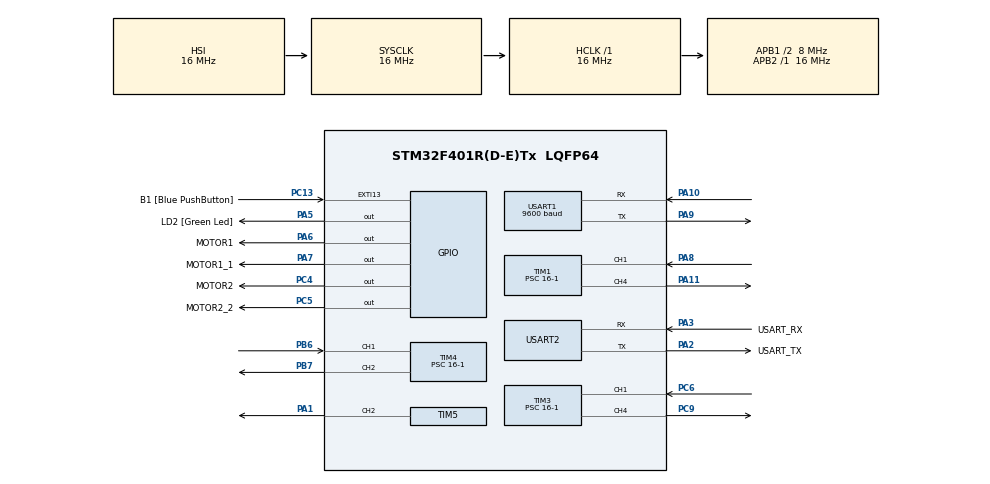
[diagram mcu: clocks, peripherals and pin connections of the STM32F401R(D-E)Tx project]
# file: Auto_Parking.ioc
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FREERTOS.Tasks01=defaultTask,0,128,StartDefaultTask,Default,NULL,Dynamic,NULL,NULL;myTask02,0,128,StartTask02,Default,NULL,Dynamic,NULL,NULL;myTask03,-3,128,Bluetooth,Default,NULL,Dynamic,NULL,NULL;myTask04,-3,128,Utrasonic,Default,NULL,Dynamic,NULL,NULL;START_SEARCHING,-3,128,start_searching,Default,NULL,Dynamic,NULL,NULL;SEARCH_FOR_SLOT,-3,128,search_for_slot,Default,NULL,Dynamic,NULL,NULL;MOVE_TILL_NEXT_,-3,128,move_till_next_car,Default,NULL,Dynamic,NULL,NULL;START_PARKING,-3,128,start_parking,Default,NULL,Dynamic,NULL,NULL;PARK,-3,128,park,Default,NULL,Dynamic,NULL,NULL
FREERTOS.configUSE_NEWLIB_REENTRANT=1
Mcu.Family=STM32F4
Mcu.Name=STM32F401R(D-E)Tx
Mcu.Package=LQFP64
NVIC.PriorityGroup=NVIC_PRIORITYGROUP_4
NVIC.TIM1_CC_IRQn=true\:5\:0\:false\:false\:true\:true\:true\:true\:true
NVIC.TIM2_IRQn=true\:15\:0\:false\:false\:true\:false\:false\:true\:true
NVIC.TIM3_IRQn=true\:5\:0\:false\:false\:true\:true\:true\:true\:true
NVIC.TIM4_IRQn=true\:5\:0\:false\:false\:true\:true\:true\:true\:true
NVIC.TimeBase=TIM2_IRQn
NVIC.TimeBaseIP=TIM2
PA1.Signal=S_TIM5_CH2
PA10.Mode=Asynchronous
PA10.Signal=USART1_RX
PA11.Signal=S_TIM1_CH4
PA13.GPIO_Label=TMS
PA13.Mode=Serial_Wire
PA13.Signal=SYS_JTMS-SWDIO
PA14.GPIO_Label=TCK
PA14.Mode=Serial_Wire
PA14.Signal=SYS_JTCK-SWCLK
PA2.GPIO_Label=USART_TX
PA2.GPIO_Mode=GPIO_MODE_AF_PP
PA2.GPIO_PuPd=GPIO_NOPULL
PA2.GPIO_Speed=GPIO_SPEED_FREQ_LOW
PA2.Mode=Asynchronous
PA2.Signal=USART2_TX
PA3.GPIO_Label=USART_RX
PA3.GPIO_Mode=GPIO_MODE_AF_PP
PA3.GPIO_PuPd=GPIO_NOPULL
PA3.GPIO_Speed=GPIO_SPEED_FREQ_LOW
PA3.Mode=Asynchronous
PA3.Signal=USART2_RX
PA5.GPIO_Label=LD2 [Green Led]
PA5.GPIO_PuPd=GPIO_NOPULL
PA5.GPIO_Speed=GPIO_SPEED_FREQ_LOW
PA5.Signal=GPIO_Output
PA6.GPIO_Label=MOTOR1
PA6.Signal=GPIO_Output
PA7.GPIO_Label=MOTOR1_1
PA7.Signal=GPIO_Output
PA8.Signal=S_TIM1_CH1
PA9.Mode=Asynchronous
PA9.Signal=USART1_TX
PB3.GPIO_Label=SWO
PB3.Signal=SYS_JTDO-SWO
PB6.Signal=S_TIM4_CH1
PB7.Signal=S_TIM4_CH2
PC13-ANTI_TAMP.GPIO_Label=B1 [Blue PushButton]
PC13-ANTI_TAMP.GPIO_ModeDefaultEXTI=GPIO_MODE_IT_FALLING
PC13-ANTI_TAMP.GPIO_PuPd=GPIO_NOPULL
PC13-ANTI_TAMP.Signal=GPXTI13
PC14-OSC32_IN.Mode=LSE-External-Oscillator
PC14-OSC32_IN.Signal=RCC_OSC32_IN
PC15-OSC32_OUT.Mode=LSE-External-Oscillator
PC15-OSC32_OUT.Signal=RCC_OSC32_OUT
PC4.GPIO_Label=MOTOR2
PC4.Signal=GPIO_Output
PC5.GPIO_Label=MOTOR2_2
PC5.Signal=GPIO_Output
PC6.Signal=S_TIM3_CH1
PC9.Signal=S_TIM3_CH4
PH0\ -\ OSC_IN.Mode=HSE-External-Clock-Source
PH0\ -\ OSC_IN.Signal=RCC_OSC_IN
PH1\ -\ OSC_OUT.Mode=HSE-External-Clock-Source
PH1\ -\ OSC_OUT.Signal=RCC_OSC_OUT
ProjectManager.HeapSize=0x200
ProjectManager.StackSize=0x400
ProjectManager.TargetToolchain=STM32CubeIDE
RCC.48MHZClocksFreq_Value=48000000
RCC.AHBFreq_Value=16000000
RCC.APB1CLKDivider=RCC_HCLK_DIV2
RCC.APB1Freq_Value=8000000
RCC.APB1TimFreq_Value=16000000
RCC.APB2Freq_Value=16000000
RCC.APB2TimFreq_Value=16000000
RCC.CortexFreq_Value=16000000
RCC.HCLKFreq_Value=16000000
RCC.HSE_VALUE=8000000
RCC.HSI_VALUE=16000000
RCC.PLLN=336
RCC.PLLP=RCC_PLLP_DIV4
RCC.PLLQ=7
RCC.SYSCLKFreq_VALUE=16000000
RCC.VCOOutputFreq_Value=336000000
SH.S_TIM1_CH1.0=TIM1_CH1,Input_Capture1_from_TI1
SH.S_TIM1_CH4.0=TIM1_CH4,PWM Generation4 CH4
SH.S_TIM3_CH1.0=TIM3_CH1,Input_Capture1_from_TI1
SH.S_TIM3_CH4.0=TIM3_CH4,PWM Generation4 CH4
SH.S_TIM4_CH1.0=TIM4_CH1,Input_Capture1_from_TI1
SH.S_TIM4_CH2.0=TIM4_CH2,PWM Generation2 CH2
SH.S_TIM5_CH2.0=TIM5_CH2,PWM Generation2 CH2
TIM1.Channel-Input_Capture1_from_TI1=TIM_CHANNEL_1
TIM1.Channel-PWM\ Generation4\ CH4=TIM_CHANNEL_4
TIM1.Period=65535
TIM1.Prescaler=16-1
TIM1.Pulse-PWM\ Generation4\ CH4=10
TIM3.Channel-Input_Capture1_from_TI1=TIM_CHANNEL_1
TIM3.Channel-PWM\ Generation4\ CH4=TIM_CHANNEL_4
TIM3.Period=65535
TIM3.Prescaler=16-1
TIM3.Pulse-PWM\ Generation4\ CH4=10
TIM4.Channel-Input_Capture1_from_TI1=TIM_CHANNEL_1
TIM4.Channel-PWM\ Generation2\ CH2=TIM_CHANNEL_2
TIM4.Prescaler=16-1
TIM4.Pulse-PWM\ Generation2\ CH2=10
TIM5.Channel-PWM\ Generation2\ CH2=TIM_CHANNEL_2
TIM5.Period=65535
TIM5.Pulse-PWM\ Generation2\ CH2=10000
USART1.BaudRate=9600
USART1.VirtualMode=VM_ASYNC
USART2.VirtualMode=VM_ASYNC
VP_FREERTOS_VS_CMSIS_V1.Mode=CMSIS_V1
VP_SYS_VS_tim2.Mode=TIM2
VP_TIM3_VS_ClockSourceINT.Mode=Internal
VP_TIM4_VS_ClockSourceINT.Mode=Internal
VP_TIM5_VS_ClockSourceINT.Mode=Internal
board=NUCLEO-F401RE

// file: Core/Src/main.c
/* USER CODE BEGIN Header */
/**
 ******************************************************************************
 * @file           : main.c
 * @brief          : Main program body
 ******************************************************************************
 * @attention
 *
 * Copyright (c) 2023 STMicroelectronics.
 * All rights reserved.
 *
 * This software is licensed under terms that can be found in the LICENSE file
 * in the root directory of this software component.
 * If no LICENSE file comes with this software, it is provided AS-IS.
 *
 ******************************************************************************
 */
/* USER CODE END Header */
#include "main.h"
#include "cmsis_os.h"
#include "tim.h"
#include "usart.h"
#include "gpio.h"

/* USER CODE BEGIN Includes */
#include "DC_Motor.h"
#include "FreeRTOSConfig.h"
/* USER CODE END Includes */

/* USER CODE BEGIN PV */

uint16_t IC_Val1[3], IC_Val2[3] , Difference[3];
uint8_t count = 0, Trigger_ID = 0;
uint8_t Distance[3] = {0};

uint16_t Counter=0,C1=0,C2=0,C3=0,C4=0,C5=0;

uint8_t right_backward_flag=0, right_forward_flag=0, FLAG=5, Stop_Flag=0;

/* USER CODE END PV */

void SystemClock_Config(void);
void MX_FREERTOS_Init(void);
/* USER CODE BEGIN PFP */

void HAL_TIM_IC_CaptureCallback(TIM_HandleTypeDef *htim);

void HAL_UART_RxCpltCallback(UART_HandleTypeDef *huart);

void Start_Trigger(void);

void Mossion_Decision(void);

void Start_Searching(void);

void Search_for_Slot(void);

void Move_Till_Next_Car(void);

void Start_Parking(void);

void Park(void);

void _delay_ms(uint32_t ticks);

/* USER CODE END PFP */

int main(void)
{

  /* MCU Configuration--------------------------------------------------------*/

  /* Reset of all peripherals, Initializes the Flash interface and the Systick. */
  HAL_Init();

  /* Configure the system clock */
  SystemClock_Config();

  /* Initialize all configured peripherals */
  MX_GPIO_Init();
  MX_USART2_UART_Init();
  MX_TIM3_Init();
  MX_USART1_UART_Init();
  MX_TIM1_Init();
  MX_TIM4_Init();
  MX_TIM5_Init();
  /* USER CODE BEGIN 2 */

	HAL_TIM_Base_Start(&htim1);
	/*Start ICU for timer1 CH1*/
	HAL_TIM_IC_Start_IT(&htim1, TIM_CHANNEL_1);
	/*Start ICU for timer3 CH2*/
	HAL_TIM_IC_Start_IT(&htim3, TIM_CHANNEL_1);
	/*Start ICU for timer4 CH1*/
	HAL_TIM_IC_Start_IT(&htim4, TIM_CHANNEL_1);

	HAL_TIM_PWM_Start(&htim5, TIM_CHANNEL_2);

//	HAL_UART_Receive_IT(&huart1, &STATE, sizeof(uint8_t));
  /* USER CODE END 2 */

  /* Call init function for freertos objects (in freertos.c) */
  MX_FREERTOS_Init();

  /* Start scheduler */
  osKernelStart();

  /* We should never get here as control is now taken by the scheduler */
  /* Infinite loop */
  /* USER CODE BEGIN WHILE */
	while (1)
	{

/********************* Without RTOS ******************************/
//		Start_Trigger();
//
//  		if (STATE == Auto_Parking)
//  		{
//  			FLAG=0;
//  		}
//
//		if(FLAG==5)
//		{
//			Mossion_Decision();
//		}
//		else if(FLAG==0)
//		{
//			Start_Searching();
//		}
//		else if(FLAG==1)
//		{
//			Search_for_Slot();
//		}
//		else if(FLAG==2)
//		{
//			Move_Till_Next_Car();
//		}
//		else if(FLAG==3)
//		{
//			Start_Parking();
//		}
//		else if(FLAG==4)
//		{
//			Park();
//		}

    /* USER CODE END WHILE */

	}
}

void SystemClock_Config(void)
{
  RCC_OscInitTypeDef RCC_OscInitStruct = {0};
  RCC_ClkInitTypeDef RCC_ClkInitStruct = {0};

  /** Configure the main internal regulator output voltage
  */
  __HAL_RCC_PWR_CLK_ENABLE();
  __HAL_PWR_VOLTAGESCALING_CONFIG(PWR_REGULATOR_VOLTAGE_SCALE2);

  /** Initializes the RCC Oscillators according to the specified parameters
  * in the RCC_OscInitTypeDef structure.
  */
  RCC_OscInitStruct.OscillatorType = RCC_OSCILLATORTYPE_HSI;
  RCC_OscInitStruct.HSIState = RCC_HSI_ON;
  RCC_OscInitStruct.HSICalibrationValue = RCC_HSICALIBRATION_DEFAULT;
  RCC_OscInitStruct.PLL.PLLState = RCC_PLL_NONE;
  if (HAL_RCC_OscConfig(&RCC_OscInitStruct) != HAL_OK)
  {
    Error_Handler();
  }

  /** Initializes the CPU, AHB and APB buses clocks
  */
  RCC_ClkInitStruct.ClockType = RCC_CLOCKTYPE_HCLK|RCC_CLOCKTYPE_SYSCLK
                              |RCC_CLOCKTYPE_PCLK1|RCC_CLOCKTYPE_PCLK2;
  RCC_ClkInitStruct.SYSCLKSource = RCC_SYSCLKSOURCE_HSI;
  RCC_ClkInitStruct.AHBCLKDivider = RCC_SYSCLK_DIV1;
  RCC_ClkInitStruct.APB1CLKDivider = RCC_HCLK_DIV2;
  RCC_ClkInitStruct.APB2CLKDivider = RCC_HCLK_DIV1;

  if (HAL_RCC_ClockConfig(&RCC_ClkInitStruct, FLASH_LATENCY_0) != HAL_OK)
  {
    Error_Handler();
  }
}

/* USER CODE BEGIN 4 */

void HAL_TIM_IC_CaptureCallback(TIM_HandleTypeDef *htim)
{
	if (  (htim->Channel == HAL_TIM_ACTIVE_CHANNEL_1) )  // if the interrupt source is channel1
	{
		if(Trigger_ID==0)
		{

			HAL_TIM_PWM_Stop(&htim1, TIM_CHANNEL_4);
		}
		else if(Trigger_ID==1)
		{
			HAL_TIM_PWM_Stop(&htim3, TIM_CHANNEL_4);
		}
		else if(Trigger_ID==2)
		{
			HAL_TIM_PWM_Stop(&htim4, TIM_CHANNEL_2);
		}

		if (count==0) // if the first value is not captured
		{

			IC_Val1[Trigger_ID] = HAL_TIM_ReadCapturedValue(htim, TIM_CHANNEL_1); // read the first value
			// Now change the polarity to falling edge
			__HAL_TIM_SET_CAPTUREPOLARITY(htim, TIM_CHANNEL_1, TIM_INPUTCHANNELPOLARITY_FALLING);
			count = 1;
		}

		else if (count==1)   // if the first is already captured
		{
			IC_Val2[Trigger_ID] = HAL_TIM_ReadCapturedValue(htim, TIM_CHANNEL_1);  // read second value
			__HAL_TIM_SET_COUNTER(htim,0);	// Reset Timer Count

			/*Distance Calculation*/
			if(IC_Val2[Trigger_ID] > IC_Val1[Trigger_ID]){
				Difference[Trigger_ID]=IC_Val2[Trigger_ID]-IC_Val1[Trigger_ID];
				Distance[Trigger_ID]=Difference[Trigger_ID]/58;
			}

			Trigger_ID++;

			// set polarity to rising edge
			__HAL_TIM_SET_CAPTUREPOLARITY(htim, TIM_CHANNEL_1, TIM_INPUTCHANNELPOLARITY_RISING);
			count =0;
		}
	}
}

void HAL_UART_RxCpltCallback(UART_HandleTypeDef *huart)
{
	HAL_UART_Receive_IT(&huart1, &STATE, sizeof(uint8_t));
}

void Start_Trigger(void)
{
	if(Trigger_ID >= 3)
	{
		Trigger_ID = 0;
	}
	else if(Trigger_ID==0)
	{
		HAL_TIM_PWM_Start(&htim1, TIM_CHANNEL_4);
	}
	else if(Trigger_ID==1)
	{
		HAL_TIM_PWM_Start(&htim3, TIM_CHANNEL_4);
	}
	else if(Trigger_ID==2)
	{
		HAL_TIM_PWM_Start(&htim4, TIM_CHANNEL_2);
	}

}

void Mossion_Decision(void)
{
	if (STATE == Stop)
	{
		stop();
	}
	   else  if(STATE == Forward)
	{
		move_Forward();
	}
	else if(STATE == Backward)
	{
		move_backward();
	}
	else if (STATE == Turn_rightforward)
	{
		turn_right_forward();
	}
	else if (STATE == Turn_rightbackward)
	{
		turn_right_backward();
	}
	else if (STATE == Turn_leftforward)
	{
		turn_left_forward();
	}
	else if (STATE == Turn_leftbackward)
	{
		turn_left_backward();
	}
}

void Start_Searching(void)
{

		if( (Distance[2]<20)  || (Distance[1]<20))
		{
			Counter++;
			if(Counter == 10)
			{
				move_Forward();
				Counter=0;
			}
		}
		else
		{
			Counter=0;
		}
		FLAG=1;
}

void Search_for_Slot(void)
{
	if( (Distance[2]>20) && (Distance[1]>20) )
	{
		Counter++;
		if(Counter == 10)
		{
//				stop();
//				HAL_Delay(5000);

			FLAG =2;
			Counter=0;
			move_Forward();
		}
	}
	else
	{
		Counter=0;
	}

}

void Move_Till_Next_Car(void)
{
		if( (Distance[2]<20) && (Distance[1]<20) )
		{
			Counter++;
			if(Counter == 10)
			{
				FLAG=3;
				Counter=0;
			}
		}
		else
		{
			Counter=0;
		}
}

void Start_Parking(void)
{
		SET_PULSE(45000);
		move_backward();
//		_delay_ms(400);
		HAL_Delay(400);
		stop();
		HAL_Delay(5000);
		turn_right_backward();

		FLAG=4;
}

void Park(void)
{
		if( ( (Distance[1])<20 ) && ( Stop_Flag==1 ) )
		{
			C4++;
			if(C4==10)
			{
				stop();
				while(1);
			}
		}

		if( (Distance[0]>20) && (right_forward_flag==1) )
		{
			C3++;
			if(C3==10)
			{
				turn_left_backward();
				Stop_Flag=1;
			}
		}
		else if( (Distance[0]<25) )
		{
			C2++;
			if(C2==10)
			{
				turn_right_forward();
				C2=0;
				right_backward_flag=1;
				right_forward_flag=1;
			}
		}
		else
		{
			C2=0;
			C3=0;
			C4=0;
		}
}

void _delay_ms(uint32_t ticks)
{
	uint32_t i;
	for (i =0; i<(ticks*500) ; i++)
	{
		asm("NOP");
	}
}

/* USER CODE END 4 */

void HAL_TIM_PeriodElapsedCallback(TIM_HandleTypeDef *htim)
{
  if (htim->Instance == TIM2) {
    HAL_IncTick();
  }
}

void Error_Handler(void)
{
	__disable_irq();
	while (1)
	{
	}
}

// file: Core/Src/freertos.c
/* USER CODE BEGIN Header */
/**
  ******************************************************************************
  * File Name          : freertos.c
  * Description        : Code for freertos applications
  ******************************************************************************
  * @attention
  *
  * Copyright (c) 2023 STMicroelectronics.
  * All rights reserved.
  *
  * This software is licensed under terms that can be found in the LICENSE file
  * in the root directory of this software component.
  * If no LICENSE file comes with this software, it is provided AS-IS.
  *
  ******************************************************************************
  */
/* USER CODE END Header */

#include "FreeRTOS.h"
#include "task.h"
#include "main.h"
#include "cmsis_os.h"

/* USER CODE BEGIN Includes */
#include "usart.h"
#include "tim.h"
#include "gpio.h"
#include "DC_Motor.h"
#include "stdio.h"
/* USER CODE END Includes */

osThreadId defaultTaskHandle;
osThreadId myTask02Handle;
osThreadId myTask03Handle;
osThreadId myTask04Handle;
osThreadId START_SEARCHINGHandle;
osThreadId SEARCH_FOR_SLOTHandle;
osThreadId MOVE_TILL_NEXT_Handle;
osThreadId START_PARKINGHandle;
osThreadId PARKHandle;

void StartDefaultTask(void const * argument);
void StartTask02(void const * argument);
void Bluetooth(void const * argument);
void Utrasonic(void const * argument);
void start_searching(void const * argument);
void search_for_slot(void const * argument);
void move_till_next_car(void const * argument);
void start_parking(void const * argument);
void park(void const * argument);

void MX_FREERTOS_Init(void); /* (MISRA C 2004 rule 8.1) */

/* GetIdleTaskMemory prototype (linked to static allocation support) */
void vApplicationGetIdleTaskMemory( StaticTask_t **ppxIdleTaskTCBBuffer, StackType_t **ppxIdleTaskStackBuffer, uint32_t *pulIdleTaskStackSize );

/* USER CODE BEGIN GET_IDLE_TASK_MEMORY */
static StaticTask_t xIdleTaskTCBBuffer;
static StackType_t xIdleStack[configMINIMAL_STACK_SIZE];

void vApplicationGetIdleTaskMemory( StaticTask_t **ppxIdleTaskTCBBuffer, StackType_t **ppxIdleTaskStackBuffer, uint32_t *pulIdleTaskStackSize )
{
  *ppxIdleTaskTCBBuffer = &xIdleTaskTCBBuffer;
  *ppxIdleTaskStackBuffer = &xIdleStack[0];
  *pulIdleTaskStackSize = configMINIMAL_STACK_SIZE;
  /* place for user code */
}
/* USER CODE END GET_IDLE_TASK_MEMORY */

void MX_FREERTOS_Init(void) {

  /* Create the thread(s) */
  /* definition and creation of defaultTask */
  osThreadDef(defaultTask, StartDefaultTask, osPriorityNormal, 0, 128);
  defaultTaskHandle = osThreadCreate(osThread(defaultTask), NULL);

  /* definition and creation of myTask02 */
  osThreadDef(myTask02, StartTask02, osPriorityNormal, 0, 128);
  myTask02Handle = osThreadCreate(osThread(myTask02), NULL);

  /* definition and creation of myTask03 */
  osThreadDef(myTask03, Bluetooth, osPriorityIdle, 0, 128);
  myTask03Handle = osThreadCreate(osThread(myTask03), NULL);

  /* definition and creation of myTask04 */
  osThreadDef(myTask04, Utrasonic, osPriorityIdle, 0, 128);
  myTask04Handle = osThreadCreate(osThread(myTask04), NULL);

  /* definition and creation of START_SEARCHING */
  osThreadDef(START_SEARCHING, start_searching, osPriorityIdle, 0, 128);
  START_SEARCHINGHandle = osThreadCreate(osThread(START_SEARCHING), NULL);

  /* definition and creation of SEARCH_FOR_SLOT */
  osThreadDef(SEARCH_FOR_SLOT, search_for_slot, osPriorityIdle, 0, 128);
  SEARCH_FOR_SLOTHandle = osThreadCreate(osThread(SEARCH_FOR_SLOT), NULL);

  /* definition and creation of MOVE_TILL_NEXT_ */
  osThreadDef(MOVE_TILL_NEXT_, move_till_next_car, osPriorityIdle, 0, 128);
  MOVE_TILL_NEXT_Handle = osThreadCreate(osThread(MOVE_TILL_NEXT_), NULL);

  /* definition and creation of START_PARKING */
  osThreadDef(START_PARKING, start_parking, osPriorityIdle, 0, 128);
  START_PARKINGHandle = osThreadCreate(osThread(START_PARKING), NULL);

  /* definition and creation of PARK */
  osThreadDef(PARK, park, osPriorityIdle, 0, 128);
  PARKHandle = osThreadCreate(osThread(PARK), NULL);

}

void StartDefaultTask(void const * argument)
{
  /* USER CODE BEGIN StartDefaultTask */
  /* Infinite loop */

	STATE=Stop;
	SET_PULSE(20000);

	for(;;)
	{
//		osThreadSuspend(defaultTaskHandle);
//		osThreadSuspend(myTask04Handle);

		osDelay(100);
	}
  /* USER CODE END StartDefaultTask */
}

/* USER CODE BEGIN Header_StartTask02 */
/**
* @brief Function implementing the myTask02 thread.
* @param argument: Not used
* @retval Non
*/
/* USER CODE END Header_StartTask02 */
void StartTask02(void const * argument)
{
  /* USER CODE BEGIN StartTask02 */
  /* Infinite loop */
  for(;;)
  {
		if(FLAG==5)
		{
			Mossion_Decision();
		}

  		if (STATE == Auto_Parking)
  		{
  			FLAG=0;
  		}
    osDelay(90);
  }
  /* USER CODE END StartTask02 */
}

void Bluetooth(void const * argument)
{
  /* USER CODE BEGIN Bluetooth */
  /* Infinite loop */
  for(;;)
  {
	  HAL_UART_Receive(&huart1, &STATE, 1, 1000);
	  HAL_UART_Transmit(&huart1, &STATE, 1, 1000);

    osDelay(100);
  }
  /* USER CODE END Bluetooth */
}

void Utrasonic(void const * argument)
{
  /* USER CODE BEGIN Utrasonic */
  /* Infinite loop */
  for(;;)
  {
	  Start_Trigger();

    osDelay(90);
  }
  /* USER CODE END Utrasonic */
}

void start_searching(void const * argument)
{
  /* USER CODE BEGIN start_searching */
  /* Infinite loop */
  for(;;)
  {
		if(FLAG==0)
		{
			Start_Searching();
		}

    osDelay(90);
  }
  /* USER CODE END start_searching */
}

void search_for_slot(void const * argument)
{
  /* USER CODE BEGIN search_for_slot */
  /* Infinite loop */
  for(;;)
  {
		if(FLAG==1)
		{
			Search_for_Slot();
		}

    osDelay(90);
  }
  /* USER CODE END search_for_slot */
}

void move_till_next_car(void const * argument)
{
  /* USER CODE BEGIN move_till_next_car */
  /* Infinite loop */
  for(;;)
  {
		if(FLAG==2)
		{
			Move_Till_Next_Car();
		}

    osDelay(90);
  }
  /* USER CODE END move_till_next_car */
}

void start_parking(void const * argument)
{
  /* USER CODE BEGIN start_parking */
  /* Infinite loop */
  for(;;)
  {
		if(FLAG==3)
		{
			Start_Parking();
		}

    osDelay(90);
  }
  /* USER CODE END start_parking */
}

void park(void const * argument)
{
  /* USER CODE BEGIN park */
  /* Infinite loop */
  for(;;)
  {
		if(FLAG==4)
		{
			Park();
		}

    osDelay(90);
  }
  /* USER CODE END park */
}
